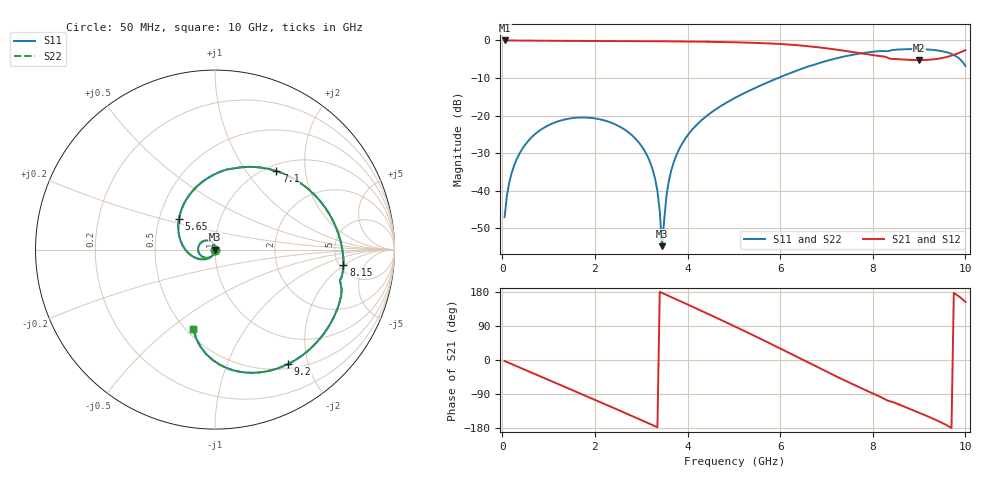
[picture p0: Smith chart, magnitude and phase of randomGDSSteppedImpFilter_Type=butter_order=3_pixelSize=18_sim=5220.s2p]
! freq	dB(S11)	phase(S11)	dB(S12)	phase(S12)
!  dB(S21)	phase(S21)	dB(S22)	phase(S22)
!S-par simulation data
#  GHz  S  DB  R 50
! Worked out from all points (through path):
!   200 points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, 50 MHz to 10 GHz, reference 50 ohm
!   highest |S21| = -0.01 dB at 50 MHz (marker M1); lowest = -5.2 dB at 9 GHz (marker M2)
!   group delay of S21, straight-line fit = 157 ps
!   lowest |S11| = -54.7 dB at 3.45 GHz (marker M3), VSWR 1.00, Z = 50.2 + j0.0313 ohm
!   |S11| at or under -10 dB: start of sweep to 5.952 GHz
!   |S22| runs from -55.9 to -2.3 dB; largest |S21 - S12| = 0
!   S11 on the Smith chart (normalised r, x): 50 MHz: 1.00, -0.01; 5.65 GHz: 0.63, +0.23; 7.1 GHz: 1.11, +1.40; 8.15 GHz: 5.48, -1.90; 9.2 GHz: 0.57, -1.68; 10 GHz: 0.55, -0.61
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0.05  -47.01 -89.3  -0.01 -2.7  -0.01 -2.7  -47.01 -89.4
0.2  -35.37 -99.6  -0.02 -10.6  -0.02 -10.6  -35.37 -99.6
0.5  -27.64 -116.7  -0.04 -26.4  -0.04 -26.4  -27.64 -116.7
1.75  -20.49 176.7  -0.14 -91.9  -0.14 -91.9  -20.49 176.7
2.95  -27.18 111.6  -0.20 -155.8  -0.20 -155.8  -27.18 112.0
3.25  -34.47 93.0  -0.21 -172.1  -0.21 -172.1  -34.48 94.0
3.4  -45.34 74.2  -0.22 179.7  -0.22 179.7  -45.45 77.8
3.45  -54.72 9.8  -0.23 177.0  -0.23 177.0  -55.89 10.3
3.55  -40.84 -91.3  -0.24 171.5  -0.24 171.5  -40.89 -93.5
3.8  -29.42 -111.3  -0.26 157.7  -0.26 157.7  -29.42 -111.9
4.45  -19.73 -149.5  -0.36 121.3  -0.36 121.3  -19.73 -149.7
5.05  -15.12 175.5  -0.50 86.9  -0.50 86.9  -15.12 175.4
5.65  -11.59 139.7  -0.74 51.5  -0.74 51.5  -11.59 139.7
6.2  -8.77 106.4  -1.10 18.3  -1.10 18.3  -8.77 106.4
6.7  -6.59 75.7  -1.67 -12.2  -1.67 -12.2  -6.59 75.8
7.1  -5.11 52.0  -2.25 -36.5  -2.25 -36.5  -5.11 52.0
8.15  -2.85 -6.6  -4.15 -96.4  -4.15 -96.4  -2.85 -6.6
8.35  -2.79 -15.2  -4.78 -108.3  -4.78 -108.3  -2.80 -15.1
9  -2.32 -47.6  -5.23 -139.1  -5.23 -139.1  -2.32 -47.6
9.2  -2.42 -57.4  -5.15 -149.4  -5.15 -149.4  -2.42 -57.4
9.65  -3.36 -81.5  -4.23 -175.8  -4.23 -175.8  -3.36 -81.6
10  -6.79 -105.3  -2.59 153.4  -2.59 153.4  -6.81 -105.5
